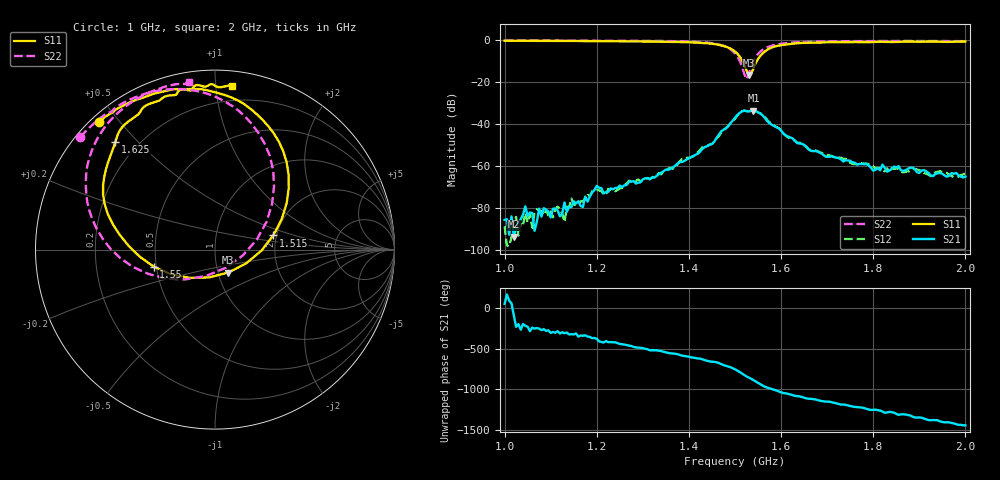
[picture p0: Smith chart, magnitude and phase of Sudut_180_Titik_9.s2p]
# Hz S RI R 50
! CMT, C1220, 16058040, 17.2.0/1
! Date: 14/08/2018 11:57:01
! Data: Format (Calibration Info)
! Freq  S11: Re/Im (F2)  S21: Re/Im (F2)  S12: Re/Im (F2)  S22: Re/Im (F2)
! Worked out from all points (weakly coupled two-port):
!   201 points, 1 GHz to 2 GHz, reference 50 ohm
!   highest |S21| = -33.57 dB at 1.54 GHz (marker M1); lowest = -93.6 dB at 1.02 GHz (marker M2)
!   lowest |S11| = -16.6 dB at 1.53 GHz (marker M3), VSWR 1.35, Z = 56 - j14.6 ohm
!   |S11| at or under -10 dB: 1.516 GHz to 1.548 GHz (31.42 MHz wide, 2.05 % of centre)
!   |S22| runs from -18.6 to -0.2 dB; largest |S21 - S12| = 0.00093
!   S11 on the Smith chart (normalised r, x): 1 GHz: 0.02, +0.44; 1.515 GHz: 1.92, +0.34; 1.55 GHz: 0.48, -0.11; 1.625 GHz: 0.12, +0.43; 2 GHz: 0.10, +1.10
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1e9  -0.6446 0.712  3.14e-05 4.3e-05  -7.95e-06 3.65e-05  -0.7499 0.6274
1.02e9  -0.624 0.7282  -3.64e-07 -2.1e-05  -2.15e-05 4.16e-05  -0.7358 0.6423
1.145e9  -0.4974 0.8092  8.27e-05 6.71e-05  0.000162 5.58e-05  -0.6371 0.7341
1.15e9  -0.4941 0.8111  0.000119 8.56e-05  0.000122 7.78e-06  -0.6323 0.7379
1.17e9  -0.4723 0.8212  0.000101 3.71e-05  0.000131 6.49e-05  -0.6121 0.7524
1.175e9  -0.4641 0.8246  0.000173 8.09e-05  0.000166 3.89e-05  -0.6064 0.7556
1.18e9  -0.4556 0.8281  0.000142 2.41e-05  0.000206 4.46e-06  -0.6007 0.7586
1.2e9  -0.4295 0.837  0.000322 -0.00011  0.000239 -0.000134  -0.578 0.7657
1.215e9  -0.4167 0.8417  0.000101 -0.000202  0.000123 -0.000174  -0.5712 0.774
1.335e9  -0.2147 0.894  -0.000635 -0.000163  -0.000679 -9.75e-05  -0.3954 0.8661
1.45e9  0.1812 0.797  0.00168 0.0029  0.00186 0.00285  0.0273 0.8397
1.5e9  0.4107 0.342  0.012 -0.00782  0.0112 -0.00733  0.3289 0.3517
1.515e9  0.3249 0.0791  0.00173 -0.02  0.00227 -0.0201  0.2324 0.0554
1.525e9  0.1736 -0.0771  -0.0106 -0.0173  -0.0106 -0.0176  0.0586 -0.1015
1.53e9  0.0745 -0.1276  -0.0142 -0.0142  -0.0143 -0.0144  -0.0504 -0.1472
1.54e9  -0.1411 -0.1578  -0.0204 -0.00469  -0.0203 -0.00467  -0.2746 -0.1611
1.55e9  -0.3414 -0.0951  -0.0176 0.00722  -0.0179 0.0066  -0.4584 -0.0958
1.58e9  -0.6155 0.2552  0.000994 0.00958  0.00146 0.00986  -0.7007 0.2189
1.625e9  -0.5549 0.5993  0.00454 0.0007  0.0043 0.000781  -0.6965 0.5222
1.67e9  -0.4415 0.7428  0.00174 -0.00148  0.00183 -0.00161  -0.6198 0.6739
1.835e9  -0.1447 0.887  -0.000754 0.000247  -0.000702 0.000243  -0.3698 0.8735
2e9  0.0937 0.912  0.000568 -5.4e-05  0.000668 -8.03e-05  -0.1463 0.931
